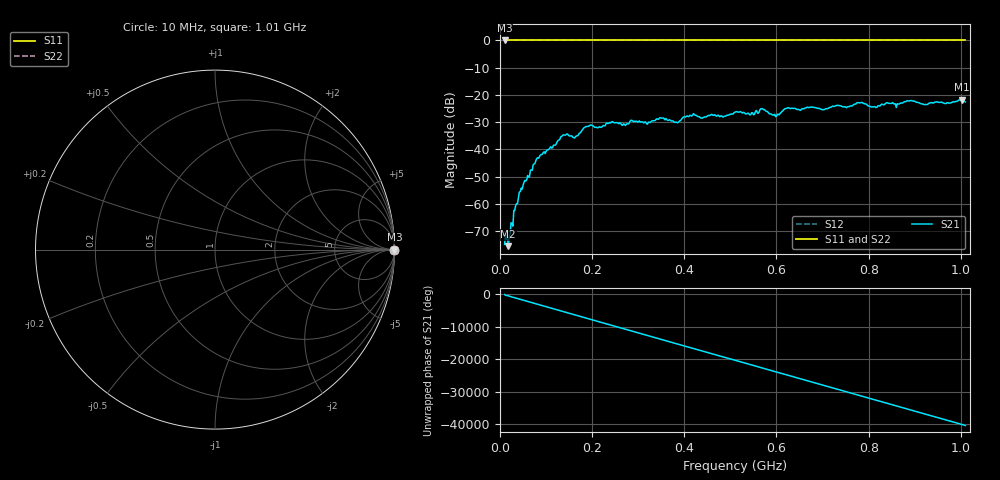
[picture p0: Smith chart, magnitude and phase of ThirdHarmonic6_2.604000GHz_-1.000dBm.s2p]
! 8/17/2025 5:39:37 AM
! C:\ANRITSUVNA\TEMP\TEMP.S2P
! CHANNEL.1
! TR.MEASUREMENT
! RAW.DATA
! RF.CORRECTION.OFF
! AVERAGING.OFF
! IF.BANDWIDTH: 5KHZ
! SWEEPTYPE:  FREQ.SWEEP(Linear)
! Reference Plane Port Info
! PORT:  PORT1  PORT2
! DISTANCE:  0  m  0  m
! TIME:  0  s  0  s
! PHASE.OFFSET:  0  deg.  0  deg.
! LOSS:  0  dB  0  dB
! REF.LOSS:  0  dB  0  dB
! REF.FREQ:  0  Hz  0  Hz
! Power Info
! POWER:  -20  dBm  -20  dBm
! EFF.POWER:  -20  dBm  -20  dBm
! SOURCE.ATTEN:  0  dB  0  dB
! TEST.ATTEN:  0  dB  0  dB
# GHZ S RI R 50.0
! FREQ.GHZ  S11RE  S11IM  S21RE  S21IM  S12RE  S12IM  S22RE  S22IM
!; PortSelection: Port_12
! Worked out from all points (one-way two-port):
!   501 points, 10 MHz to 1.01 GHz, reference 50 ohm
!   highest |S21| = -21.73 dB at 1.002 GHz (marker M1); lowest = -75.6 dB at 18 MHz (marker M2)
!   lowest |S11| = 0.0 dB at 10 MHz (marker M3)
!   |S11| at or under -10 dB: nowhere
!   |S22| runs from 0.0 to 0.0 dB; largest |S21 - S12| = 1.1
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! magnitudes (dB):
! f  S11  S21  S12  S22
! 10 MHz  0.0  -74.9  0.0  0.0
! 18 MHz  0.0  -75.6  0.0  0.0
! 44 MHz  0.0  -55.5  0.0  0.0
! 78 MHz  0.0  -44.0  0.0  0.0
! 136 MHz  0.0  -34.8  0.0  0.0
! 162 MHz  0.0  -35.8  0.0  0.0
! 178 MHz  0.0  -33.1  0.0  0.0
! 196 MHz  0.0  -31.1  0.0  0.0
! 322 MHz  0.0  -30.1  0.0  0.0
! 344 MHz  0.0  -28.9  0.0  0.0
! 384 MHz  0.0  -30.2  0.0  0.0
! 416 MHz  0.0  -27.8  0.0  0.0
! 486 MHz  0.0  -27.9  0.0  0.0
! 510 MHz  0.0  -26.3  0.0  0.0
! 548 MHz  0.0  -26.6  0.0  0.0
! 570 MHz  0.0  -25.1  0.0  0.0
! 602 MHz  0.0  -27.1  0.0  0.0
! 622 MHz  0.0  -24.9  0.0  0.0
! 678 MHz  0.0  -24.5  0.0  0.0
! 844 MHz  0.0  -23.1  0.0  0.0
! 1.002 GHz  0.0  -21.7  0.0  0.0
! 1.01 GHz  0.0  -22.6  0.0  0.0
